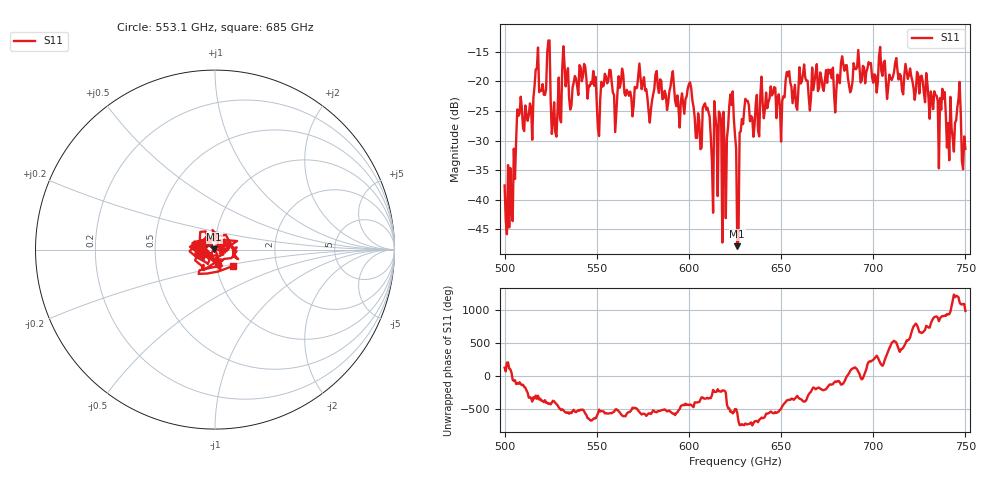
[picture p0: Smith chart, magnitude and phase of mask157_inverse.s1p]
!Created with skrf (http://scikit-rf.org).
# GHz S MA R 50.0
!freq magS11 angS11
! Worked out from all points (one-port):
!   401 points, 500 GHz to 750 GHz, reference 50 ohm
!   lowest |S11| = -47.9 dB at 626.2 GHz (marker M1), VSWR 1.01, Z = 49.6 + j0.111 ohm
!   |S11| at or under -10 dB: start of sweep to end of sweep
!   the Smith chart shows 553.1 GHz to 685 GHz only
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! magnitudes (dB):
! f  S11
! 500 GHz  -37.6
! 503.8 GHz  -41.9
! 508.1 GHz  -25.4
! 513.8 GHz  -23.7
! 516.9 GHz  -18.0
! 523.8 GHz  -13.1
! 526.9 GHz  -23.5
! 531.2 GHz  -18.0
! 542.5 GHz  -19.1
! 551.2 GHz  -29.2
! 562.5 GHz  -21.1
! 593.8 GHz  -22.4
! 600.6 GHz  -20.1
! 605.6 GHz  -26.7
! 609.4 GHz  -24.8
! 611.9 GHz  -29.4
! 616.2 GHz  -25.1
! 619.4 GHz  -31.5
! 623.1 GHz  -24.0
! 625 GHz  -29.1
! 626.2 GHz  -47.9
! 631.2 GHz  -23.3
! 656.2 GHz  -23.7
! 687.5 GHz  -21.8
! 718.8 GHz  -19.6
! 742.5 GHz  -27.9
! 746.2 GHz  -23.0
! 750 GHz  -31.4
